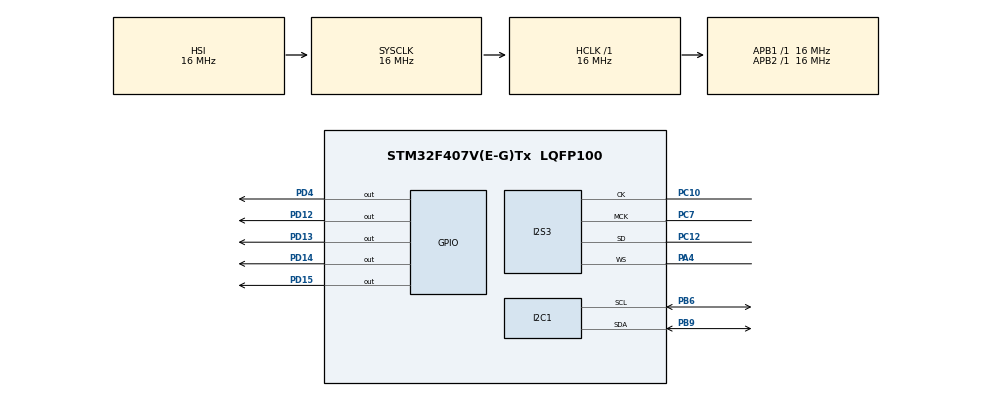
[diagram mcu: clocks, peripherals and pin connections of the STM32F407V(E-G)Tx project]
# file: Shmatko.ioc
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Dma.Request0=SPI3_TX
Dma.SPI3_TX.0.Direction=DMA_MEMORY_TO_PERIPH
Dma.SPI3_TX.0.FIFOMode=DMA_FIFOMODE_ENABLE
Dma.SPI3_TX.0.FIFOThreshold=DMA_FIFO_THRESHOLD_FULL
Dma.SPI3_TX.0.Instance=DMA1_Stream5
Dma.SPI3_TX.0.MemBurst=DMA_MBURST_SINGLE
Dma.SPI3_TX.0.MemDataAlignment=DMA_MDATAALIGN_HALFWORD
Dma.SPI3_TX.0.MemInc=DMA_MINC_ENABLE
Dma.SPI3_TX.0.Mode=DMA_CIRCULAR
Dma.SPI3_TX.0.PeriphBurst=DMA_PBURST_SINGLE
Dma.SPI3_TX.0.PeriphDataAlignment=DMA_PDATAALIGN_HALFWORD
Dma.SPI3_TX.0.PeriphInc=DMA_PINC_DISABLE
Dma.SPI3_TX.0.Priority=DMA_PRIORITY_LOW
I2S3.AudioFreq=I2S_AUDIOFREQ_48K
I2S3.ErrorAudioFreq=-2.34 %
I2S3.FullDuplexMode=I2S_FULLDUPLEXMODE_DISABLE
I2S3.Instance=SPI$Index
I2S3.RealAudioFreq=46.875 KHz
I2S3.VirtualMode=I2S_MODE_MASTER
Mcu.Family=STM32F4
Mcu.Name=STM32F407V(E-G)Tx
Mcu.Package=LQFP100
NVIC.DMA1_Stream5_IRQn=true\:0\:0\:false\:false\:true\:false\:true\:true
NVIC.PriorityGroup=NVIC_PRIORITYGROUP_4
PA4.Mode=Half_Duplex_Master
PA4.Signal=I2S3_WS
PB6.Mode=I2C
PB6.Signal=I2C1_SCL
PB9.Mode=I2C
PB9.Signal=I2C1_SDA
PC10.Mode=Half_Duplex_Master
PC10.Signal=I2S3_CK
PC12.Mode=Half_Duplex_Master
PC12.Signal=I2S3_SD
PC7.Mode=Master_Clock_Activated
PC7.Signal=I2S3_MCK
PD12.Signal=GPIO_Output
PD13.Signal=GPIO_Output
PD14.Signal=GPIO_Output
PD15.Signal=GPIO_Output
PD4.Signal=GPIO_Output
ProjectManager.HeapSize=0x200
ProjectManager.StackSize=0x400
ProjectManager.TargetToolchain=STM32CubeIDE
RCC.AHBFreq_Value=16000000
RCC.APB1Freq_Value=16000000
RCC.APB2Freq_Value=16000000
RCC.CortexFreq_Value=16000000
RCC.HSE_VALUE=25000000
RCC.HSI_VALUE=16000000
RCC.LSE_VALUE=32768
RCC.SYSCLKFreq_VALUE=16000000
RCC.VCOOutputFreq_Value=192000000
board=custom

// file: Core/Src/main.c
/* USER CODE BEGIN Header */
/**
  ******************************************************************************
  * @file           : main.c
  * @brief          : Main program body
  ******************************************************************************
  * @attention
  *
  * Copyright (c) 2025 STMicroelectronics.
  * All rights reserved.
  *
  * This software is licensed under terms that can be found in the LICENSE file
  * in the root directory of this software component.
  * If no LICENSE file comes with this software, it is provided AS-IS.
  *
  ******************************************************************************
  */
/* USER CODE END Header */
#include "main.h"

/* USER CODE BEGIN PTD */

typedef enum
{
  C4, C5, D5, E5, F5, G5, A5, B5,
  C6, D6, E6, F6, G6, A6, B6, C7,
  MAX_VALUE
} soundToneType;

/* USER CODE END PTD */

/* USER CODE BEGIN PD */

#define CS43L22_I2C_ADDRESS 	0x94
#define I2C_TIMEOUT				10

/* USER CODE END PD */

I2C_HandleTypeDef hi2c1;

I2S_HandleTypeDef hi2s3;
DMA_HandleTypeDef hdma_spi3_tx;

/* USER CODE BEGIN PV */

int16_t dataI2S[100] = {0};

/* USER CODE END PV */

void SystemClock_Config(void);
static void MX_GPIO_Init(void);
static void MX_DMA_Init(void);
static void MX_I2C1_Init(void);
static void MX_I2S3_Init(void);

/* USER CODE BEGIN 0 */

void CS43L22_Init(void)
{
  HAL_GPIO_WritePin(GPIOD, GPIO_PIN_4, 1);

  uint8_t TxBuffer[2];

  TxBuffer[0] = 0x0D;
  TxBuffer[1] = 0x01;
  HAL_I2C_Master_Transmit(&hi2c1, CS43L22_I2C_ADDRESS, (uint8_t *) &TxBuffer, 2, I2C_TIMEOUT);

  TxBuffer[0] = 0x00;
  TxBuffer[1] = 0x99;
  HAL_I2C_Master_Transmit(&hi2c1, CS43L22_I2C_ADDRESS, (uint8_t *) &TxBuffer, 2, I2C_TIMEOUT);

  TxBuffer[0] = 0x47;
  TxBuffer[1] = 0x80;
  HAL_I2C_Master_Transmit(&hi2c1, CS43L22_I2C_ADDRESS, (uint8_t *) &TxBuffer, 2, I2C_TIMEOUT);

  TxBuffer[0] = 0x32;
  TxBuffer[1] = 0xFF;
  HAL_I2C_Master_Transmit(&hi2c1, CS43L22_I2C_ADDRESS, (uint8_t *) &TxBuffer, 2, I2C_TIMEOUT);

  TxBuffer[0] = 0x32;
  TxBuffer[1] = 0x7F;
  HAL_I2C_Master_Transmit(&hi2c1, CS43L22_I2C_ADDRESS, (uint8_t *) &TxBuffer, 2, I2C_TIMEOUT);

  TxBuffer[0] = 0x00;
  TxBuffer[1] = 0x00;
  HAL_I2C_Master_Transmit(&hi2c1, CS43L22_I2C_ADDRESS, (uint8_t *) &TxBuffer, 2, I2C_TIMEOUT);

  TxBuffer[0] = 0x04;
  TxBuffer[1] = 0xAF;
  HAL_I2C_Master_Transmit(&hi2c1, CS43L22_I2C_ADDRESS, (uint8_t *) &TxBuffer, 2, I2C_TIMEOUT);

  TxBuffer[0] = 0x0D;
  TxBuffer[1] = 0x70;
  HAL_I2C_Master_Transmit(&hi2c1, CS43L22_I2C_ADDRESS, (uint8_t *) &TxBuffer, 2, I2C_TIMEOUT);

  TxBuffer[0] = 0x05;
  TxBuffer[1] = 0x81;
  HAL_I2C_Master_Transmit(&hi2c1, CS43L22_I2C_ADDRESS, (uint8_t *) &TxBuffer, 2, I2C_TIMEOUT);

  TxBuffer[0] = 0x06;
  TxBuffer[1] = 0x07;
  HAL_I2C_Master_Transmit(&hi2c1, CS43L22_I2C_ADDRESS, (uint8_t *) &TxBuffer, 2, I2C_TIMEOUT);

  TxBuffer[0] = 0x0A;
  TxBuffer[1] = 0x00;
  HAL_I2C_Master_Transmit(&hi2c1, CS43L22_I2C_ADDRESS, (uint8_t *) &TxBuffer, 2, I2C_TIMEOUT);

  TxBuffer[0] = 0x27;
  TxBuffer[1] = 0x00;
  HAL_I2C_Master_Transmit(&hi2c1, CS43L22_I2C_ADDRESS, (uint8_t *) &TxBuffer, 2, I2C_TIMEOUT);

  TxBuffer[0] = 0x1A;
  TxBuffer[1] = 0x0A;
  HAL_I2C_Master_Transmit(&hi2c1, CS43L22_I2C_ADDRESS, (uint8_t *) &TxBuffer, 2, I2C_TIMEOUT);

  TxBuffer[0] = 0x1B;
  TxBuffer[1] = 0x0A;
  HAL_I2C_Master_Transmit(&hi2c1, CS43L22_I2C_ADDRESS, (uint8_t *) &TxBuffer, 2, I2C_TIMEOUT);

  TxBuffer[0] = 0x1F;
  TxBuffer[1] = 0x0F;
  HAL_I2C_Master_Transmit(&hi2c1, CS43L22_I2C_ADDRESS, (uint8_t *) &TxBuffer, 2, I2C_TIMEOUT);

  TxBuffer[0] = 0x02;
  TxBuffer[1] = 0x9E;
  HAL_I2C_Master_Transmit(&hi2c1, CS43L22_I2C_ADDRESS, (uint8_t *) &TxBuffer, 2, I2C_TIMEOUT);

}

void CS43L22_Beep(soundToneType pitch, uint32_t delay)
{
  uint8_t TxBuffer[2];

  TxBuffer[0] = 0x1D;
  TxBuffer[1] = 0xE0;
  HAL_I2C_Master_Transmit(&hi2c1, CS43L22_I2C_ADDRESS, (uint8_t *) &TxBuffer, 2, I2C_TIMEOUT);

  TxBuffer[0] = 0x1C;
  switch (pitch)
  {
    case C4:
      TxBuffer[1] = 0x00;
      break;

    case C5:
      TxBuffer[1] = 0x10;
      break;

    case D5:
      TxBuffer[1] = 0x20;
      break;

    case E5:
      TxBuffer[1] = 0x30;
      break;

    case F5:
      TxBuffer[1] = 0x40;
      break;

    case G5:
      TxBuffer[1] = 0x50;
      break;

    case A5:
      TxBuffer[1] = 0x60;
      break;

    case B5:
      TxBuffer[1] = 0x70;
      break;

    case C6:
      TxBuffer[1] = 0x80;
      break;

    case D6:
      TxBuffer[1] = 0x90;
      break;

    case E6:
      TxBuffer[1] = 0xA0;
      break;

    case F6:
      TxBuffer[1] = 0xB0;
      break;

    case G6:
      TxBuffer[1] = 0xC0;
      break;

    case A6:
      TxBuffer[1] = 0xD0;
      break;

    case B6:
      TxBuffer[1] = 0xE0;
      break;

    case C7:
      TxBuffer[1] = 0xF0;
      break;
    case MAX_VALUE:
    default:
      TxBuffer[1] = 0x00;
      break;

  }
  HAL_I2C_Master_Transmit(&hi2c1, CS43L22_I2C_ADDRESS, (uint8_t *) &TxBuffer, 2, I2C_TIMEOUT);

  TxBuffer[0] = 0x1E;
  TxBuffer[1] = 0xC0;
  HAL_I2C_Master_Transmit(&hi2c1, CS43L22_I2C_ADDRESS, (uint8_t *) &TxBuffer, 2, I2C_TIMEOUT);

  HAL_Delay(delay);

  TxBuffer[0] = 0x1E;
  TxBuffer[1] = 0x00;
  HAL_I2C_Master_Transmit(&hi2c1, CS43L22_I2C_ADDRESS, (uint8_t *) &TxBuffer, 2, I2C_TIMEOUT);
}

/* USER CODE END 0 */

int main(void)
{

  /* MCU Configuration--------------------------------------------------------*/

  /* Reset of all peripherals, Initializes the Flash interface and the Systick. */
  HAL_Init();

  /* Configure the system clock */
  SystemClock_Config();

  /* Initialize all configured peripherals */
  MX_GPIO_Init();
  MX_DMA_Init();
  MX_I2C1_Init();
  MX_I2S3_Init();
  /* USER CODE BEGIN 2 */

  CS43L22_Init();
  HAL_I2S_Transmit_DMA(&hi2s3, (uint16_t *) dataI2S, 100);

  /* USER CODE END 2 */

  /* Infinite loop */
  /* USER CODE BEGIN WHILE */
  while (1)
  {

	  for (int repeat = 0; repeat < 3; repeat++)
	  {
	    // Масив структур: нота + LED
	    struct {
	      soundToneType tone;
	      uint16_t led;
	    } melody[] = {
	      {C4, GPIO_PIN_12},
	      {D5, GPIO_PIN_13},
	      {E5, GPIO_PIN_14},
	      {F5, GPIO_PIN_15},
	      {G5, GPIO_PIN_12},
	      {A5, GPIO_PIN_13},
	      {B5, GPIO_PIN_14},
	      {C6, GPIO_PIN_15},
	      {D6, GPIO_PIN_12},
	      {E6, GPIO_PIN_13},
	      {F6, GPIO_PIN_14},
	      {G6, GPIO_PIN_15},
	      {A6, GPIO_PIN_12},
	      {B6, GPIO_PIN_13},
	      {C7, GPIO_PIN_14},
	      {C4, GPIO_PIN_15}
	    };

	    for (int i = 0; i < sizeof(melody)/sizeof(melody[0]); i++)
	    {
	      HAL_GPIO_WritePin(GPIOD, melody[i].led, GPIO_PIN_SET);
	      CS43L22_Beep(melody[i].tone, 300);
	      HAL_GPIO_WritePin(GPIOD, melody[i].led, GPIO_PIN_RESET);
	      HAL_Delay(100);
	    }
	  }

	  HAL_GPIO_WritePin(GPIOD, GPIO_PIN_12, GPIO_PIN_RESET);
	  HAL_GPIO_WritePin(GPIOD, GPIO_PIN_13, GPIO_PIN_RESET);
	  HAL_GPIO_WritePin(GPIOD, GPIO_PIN_14, GPIO_PIN_RESET);
	  HAL_GPIO_WritePin(GPIOD, GPIO_PIN_15, GPIO_PIN_RESET);

	  while (1) {}

    /* USER CODE END WHILE */

  }
}

void SystemClock_Config(void)
{
  RCC_OscInitTypeDef RCC_OscInitStruct = {0};
  RCC_ClkInitTypeDef RCC_ClkInitStruct = {0};

  /** Macro to configure the PLL multiplication factor
  */
  __HAL_RCC_PLL_PLLM_CONFIG(16);

  /** Macro to configure the PLL clock source
  */
  __HAL_RCC_PLL_PLLSOURCE_CONFIG(RCC_PLLSOURCE_HSI);

  /** Configure the main internal regulator output voltage
  */
  __HAL_RCC_PWR_CLK_ENABLE();
  __HAL_PWR_VOLTAGESCALING_CONFIG(PWR_REGULATOR_VOLTAGE_SCALE1);

  /** Initializes the RCC Oscillators according to the specified parameters
  * in the RCC_OscInitTypeDef structure.
  */
  RCC_OscInitStruct.OscillatorType = RCC_OSCILLATORTYPE_HSI;
  RCC_OscInitStruct.HSIState = RCC_HSI_ON;
  RCC_OscInitStruct.HSICalibrationValue = RCC_HSICALIBRATION_DEFAULT;
  RCC_OscInitStruct.PLL.PLLState = RCC_PLL_NONE;
  RCC_OscInitStruct.PLL.PLLSource = RCC_PLLSOURCE_HSI;
  if (HAL_RCC_OscConfig(&RCC_OscInitStruct) != HAL_OK)
  {
    Error_Handler();
  }

  /** Initializes the CPU, AHB and APB buses clocks
  */
  RCC_ClkInitStruct.ClockType = RCC_CLOCKTYPE_HCLK|RCC_CLOCKTYPE_SYSCLK
                              |RCC_CLOCKTYPE_PCLK1|RCC_CLOCKTYPE_PCLK2;
  RCC_ClkInitStruct.SYSCLKSource = RCC_SYSCLKSOURCE_HSI;
  RCC_ClkInitStruct.AHBCLKDivider = RCC_SYSCLK_DIV1;
  RCC_ClkInitStruct.APB1CLKDivider = RCC_HCLK_DIV1;
  RCC_ClkInitStruct.APB2CLKDivider = RCC_HCLK_DIV1;

  if (HAL_RCC_ClockConfig(&RCC_ClkInitStruct, FLASH_LATENCY_0) != HAL_OK)
  {
    Error_Handler();
  }
}

static void MX_I2C1_Init(void)
{

  hi2c1.Instance = I2C1;
  hi2c1.Init.ClockSpeed = 100000;
  hi2c1.Init.DutyCycle = I2C_DUTYCYCLE_2;
  hi2c1.Init.OwnAddress1 = 0;
  hi2c1.Init.AddressingMode = I2C_ADDRESSINGMODE_7BIT;
  hi2c1.Init.DualAddressMode = I2C_DUALADDRESS_DISABLE;
  hi2c1.Init.OwnAddress2 = 0;
  hi2c1.Init.GeneralCallMode = I2C_GENERALCALL_DISABLE;
  hi2c1.Init.NoStretchMode = I2C_NOSTRETCH_DISABLE;
  if (HAL_I2C_Init(&hi2c1) != HAL_OK)
  {
    Error_Handler();
  }

}

static void MX_I2S3_Init(void)
{

  hi2s3.Instance = SPI3;
  hi2s3.Init.Mode = I2S_MODE_MASTER_TX;
  hi2s3.Init.Standard = I2S_STANDARD_PHILIPS;
  hi2s3.Init.DataFormat = I2S_DATAFORMAT_16B;
  hi2s3.Init.MCLKOutput = I2S_MCLKOUTPUT_ENABLE;
  hi2s3.Init.AudioFreq = I2S_AUDIOFREQ_48K;
  hi2s3.Init.CPOL = I2S_CPOL_LOW;
  hi2s3.Init.ClockSource = I2S_CLOCK_PLL;
  hi2s3.Init.FullDuplexMode = I2S_FULLDUPLEXMODE_DISABLE;
  if (HAL_I2S_Init(&hi2s3) != HAL_OK)
  {
    Error_Handler();
  }

}

static void MX_DMA_Init(void)
{

  /* DMA controller clock enable */
  __HAL_RCC_DMA1_CLK_ENABLE();

  /* DMA interrupt init */
  /* DMA1_Stream5_IRQn interrupt configuration */
  HAL_NVIC_SetPriority(DMA1_Stream5_IRQn, 0, 0);
  HAL_NVIC_EnableIRQ(DMA1_Stream5_IRQn);

}

static void MX_GPIO_Init(void)
{
  GPIO_InitTypeDef GPIO_InitStruct = {0};

  /* GPIO Ports Clock Enable */
  __HAL_RCC_GPIOA_CLK_ENABLE();
  __HAL_RCC_GPIOD_CLK_ENABLE();
  __HAL_RCC_GPIOC_CLK_ENABLE();
  __HAL_RCC_GPIOB_CLK_ENABLE();

  /*Configure GPIO pin Output Level */
  HAL_GPIO_WritePin(GPIOD, GPIO_PIN_12|GPIO_PIN_13|GPIO_PIN_14|GPIO_PIN_15
                          |GPIO_PIN_4, GPIO_PIN_RESET);

  /*Configure GPIO pins : PD12 PD13 PD14 PD15
                           PD4 */
  GPIO_InitStruct.Pin = GPIO_PIN_12|GPIO_PIN_13|GPIO_PIN_14|GPIO_PIN_15
                          |GPIO_PIN_4;
  GPIO_InitStruct.Mode = GPIO_MODE_OUTPUT_PP;
  GPIO_InitStruct.Pull = GPIO_NOPULL;
  GPIO_InitStruct.Speed = GPIO_SPEED_FREQ_LOW;
  HAL_GPIO_Init(GPIOD, &GPIO_InitStruct);

}

void Error_Handler(void)
{
  __disable_irq();
  while (1)
  {
  }
}
